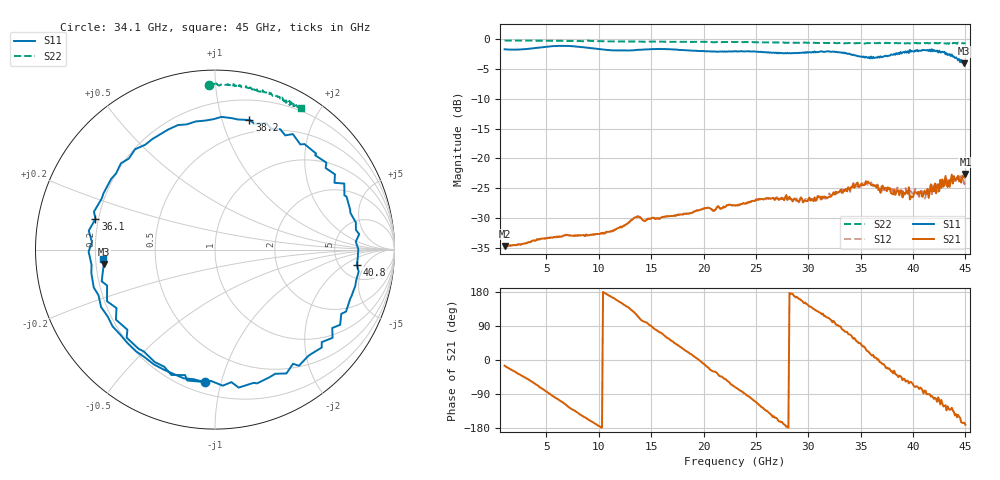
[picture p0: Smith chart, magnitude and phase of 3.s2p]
!Keysight Technologies,N5247B,MY61255062,A.19.80.06
!Date: Monday, May 18, 2026 11:51:04
!Correction: S11(Cdelta 2-Port  )
!S21(Cdelta 2-Port  )
!S12(Cdelta 2-Port  )
!S22(Cdelta 2-Port  )
!S2P File: Measurements: S11, S21, S12, S22:
# Hz S  dB  R 50
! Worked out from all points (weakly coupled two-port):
!   441 points, 1 GHz to 45 GHz, reference 50 ohm
!   highest |S21| = -22.62 dB at 45 GHz (marker M1); lowest = -34.7 dB at 1 GHz (marker M2)
!   lowest |S11| = -4.1 dB at 44.9 GHz (marker M3), VSWR 4.34, Z = 11.6 - j3.14 ohm
!   |S11| at or under -10 dB: nowhere
!   |S22| runs from -0.9 to -0.3 dB; largest |S21 - S12| = 0.015
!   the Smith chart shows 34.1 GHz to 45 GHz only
!   S11 on the Smith chart (normalised r, x): 34.1 GHz: 0.27, -0.89; 36.1 GHz: 0.19, +0.12; 38.2 GHz: 0.38, +1.23; 40.8 GHz: 7.22, -3.29; 45 GHz: 0.23, -0.04
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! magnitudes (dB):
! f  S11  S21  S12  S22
! 1 GHz  -1.7  -34.7  -34.7  -0.3
! 8.4 GHz  -1.4  -32.9  -32.8  -0.4
! 11.1 GHz  -1.9  -32.2  -32.2  -0.4
! 13.6 GHz  -1.9  -29.8  -29.7  -0.4
! 14.4 GHz  -1.8  -30.4  -30.5  -0.5
! 15.7 GHz  -1.7  -30.0  -30.1  -0.5
! 23 GHz  -2.1  -27.9  -27.9  -0.5
! 26.1 GHz  -2.3  -26.6  -26.6  -0.6
! 30.4 GHz  -2.2  -26.9  -26.8  -0.6
! 34.1 GHz  -2.6  -24.7  -25.1  -0.7
! 36.1 GHz  -3.3  -24.5  -24.4  -0.7
! 37.7 GHz  -2.8  -25.2  -24.9  -0.7
! 38.2 GHz  -2.5  -25.2  -25.7  -0.7
! 39.4 GHz  -2.3  -25.4  -25.8  -0.7
! 39.9 GHz  -2.0  -26.5  -25.8  -0.8
! 40.8 GHz  -2.0  -25.7  -25.4  -0.7
! 41.2 GHz  -1.9  -25.9  -26.4  -0.7
! 41.5 GHz  -2.1  -26.6  -25.4  -0.8
! 43.6 GHz  -2.9  -23.8  -24.0  -0.9
! 44.5 GHz  -3.9  -23.5  -23.0  -0.7
! 44.9 GHz  -4.1  -23.2  -24.3  -0.7
! 45 GHz  -4.1  -22.6  -23.9  -0.7
